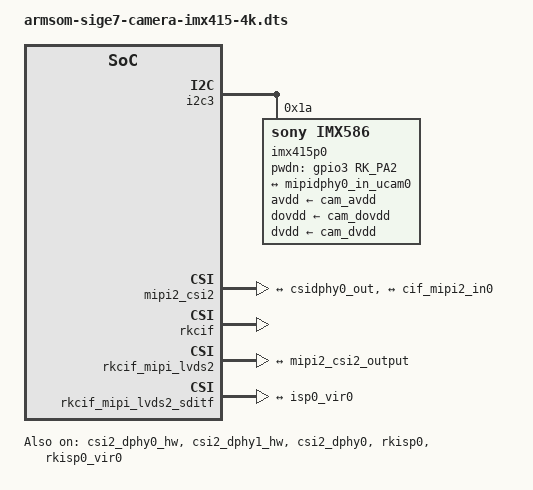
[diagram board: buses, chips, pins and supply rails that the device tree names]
/dts-v1/;
/plugin/;

#include <dt-bindings/clock/rk3588-cru.h>
#include <dt-bindings/power/rk3588-power.h>
#include <dt-bindings/gpio/gpio.h>
#include <dt-bindings/pinctrl/rockchip.h>

/ {
	fragment@0 {
		target = <&i2c3>;

		__overlay__ {
			status = "okay";
			#address-cells = <1>;
			#size-cells = <0>;
			pinctrl-names = "default";
			pinctrl-0 = <&i2c3m0_xfer>;
			
			
	/*dw9800w: dw9800w@c {
		compatible = "dongwoon,dw9800w";
		status = "okay";
		reg = <0x0c>;
		rockchip,vcm-max-current = <100>;
		rockchip,vcm-start-current = <20>;
		rockchip,vcm-rated-current = <80>;
		rockchip,vcm-step-mode = <1>;
		rockchip,vcm-t-src = <0x25>;
		rockchip,vcm-t-div = <1>;
		rockchip,camera-module-index = <0>;
		rockchip,camera-module-facing = "back";
	};*/
	
			imx415p0: imx415p0@1a {
				status = "okay";
				compatible = "sony,imx586";
				reg = <0x1a>;
				clocks = <&ext_cam_24m_clk>;
				clock-names = "xvclk";
				avdd-supply = <&cam_avdd>;
		                dovdd-supply = <&cam_dovdd>;
		                dvdd-supply = <&cam_dvdd>;
				pinctrl-names = "default";
				pinctrl-0 = <&mipim0_camera3_clk>;
				power-domains = <&power RK3588_PD_VI>;
				pwdn-gpios = <&gpio3 RK_PA2 GPIO_ACTIVE_HIGH>;
			//	reset-gpios = <&gpio4 RK_PA0 GPIO_ACTIVE_LOW>;
				rockchip,camera-module-index = <0>;
				rockchip,camera-module-facing = "back";
				rockchip,camera-module-name = "CMK-OT1607-FV1";
				rockchip,camera-module-lens-name = "M12-40IRC-4MP-F16";
				port {
					imx415_out0: endpoint {
						remote-endpoint = <&mipidphy0_in_ucam0>;
						data-lanes = <1 2>;
					};
				};
			};
			/*otp_eeprom: otp_eeprom@50 {
		          compatible = "rk,otp_eeprom";
		          status = "disabled";
		          reg = <0x50>;
	                 };*/
		};
	};

	/*fragment@1 {
		target = <&i2c4>;

		__overlay__ {
			status = "okay";
			#address-cells = <1>;
			#size-cells = <0>;
			pinctrl-names = "default";
			pinctrl-0 = <&i2c4m1_xfer>;
			
			imx415p1: imx415p1@1a {
				status = "okay";
				compatible = "sony,imx415";
				reg = <0x1a>;
				clocks = <&cru CLK_MIPI_CAMARAOUT_M2>;
				clock-names = "xvclk";
				pinctrl-names = "default";
				pinctrl-0 = <&mipim0_camera2_clk>;
				power-domains = <&power RK3588_PD_VI>;
				pwdn-gpios = <&gpio3 RK_PA2 GPIO_ACTIVE_HIGH>;
				reset-gpios = <&gpio3 RK_PA0 GPIO_ACTIVE_LOW>;
				rockchip,camera-module-index = <1>;
				rockchip,camera-module-facing = "back";
				rockchip,camera-module-name = "CMK-OT2022-PX1";
				rockchip,camera-module-lens-name = "IR0147-50IRC-8M-F20";
				port {
					imx415_out3: endpoint {
						remote-endpoint = <&mipidphy3_in_ucam3>;
						data-lanes = <1 2 3 4>;
					};
				};
			};
		};
	};*/

	fragment@1 {
		target = <&csi2_dphy0_hw>;

		__overlay__ {
			status = "okay";
		};
	};

	fragment@2 {
		target = <&csi2_dphy1_hw>;

		__overlay__ {
			status = "okay";
		};
	};


	fragment@3 {
		target = <&csi2_dphy0>;

		__overlay__ {
			status = "okay";

			ports {
				#address-cells = <1>;
				#size-cells = <0>;

				port@0 {
					reg = <0>;
					#address-cells = <1>;
					#size-cells = <0>;

					mipidphy0_in_ucam0: endpoint@1 {
						reg = <1>;
						remote-endpoint = <&imx415_out0>;
						data-lanes = <1 2>;
					};
				};

				port@1 {
					reg = <1>;
					#address-cells = <1>;
					#size-cells = <0>;

					csidphy0_out: endpoint@0 {
						reg = <0>;
						remote-endpoint = <&mipi2_csi2_input>;
					};
				};
			};
		};
	};

	/*fragment@4 {
		target = <&csi2_dphy3>;

		__overlay__ {
			status = "okay";

			ports {
				#address-cells = <1>;
				#size-cells = <0>;

				port@0 {
					reg = <0>;
					#address-cells = <1>;
					#size-cells = <0>;

					mipidphy3_in_ucam3: endpoint@1 {
						reg = <1>;
						remote-endpoint = <&imx415_out3>;
						data-lanes = <1 2 3 4>;
					};

				};

				port@1 {
					reg = <1>;
					#address-cells = <1>;
					#size-cells = <0>;

					csidphy3_out: endpoint@0 {
						reg = <0>;
						remote-endpoint = <&mipi4_csi2_input>;
					};
				};
			};
		};
	};
*/
	fragment@4 {
		target = <&mipi2_csi2>;

		__overlay__ {
			status = "okay";

			ports {
				#address-cells = <1>;
				#size-cells = <0>;

				port@0 {
					reg = <0>;
					#address-cells = <1>;
					#size-cells = <0>;

					mipi2_csi2_input: endpoint@1 {
						reg = <1>;
						remote-endpoint = <&csidphy0_out>;
					};
				};

				port@1 {
					reg = <1>;
					#address-cells = <1>;
					#size-cells = <0>;

					mipi2_csi2_output: endpoint@0 {
						reg = <0>;
						remote-endpoint = <&cif_mipi2_in0>;
					};
				};
			};
		};
	};

	/*fragment@6 {
		target = <&mipi4_csi2>;

		__overlay__ {
			status = "okay";

			ports {
				#address-cells = <1>;
				#size-cells = <0>;

				port@0 {
					reg = <0>;
					#address-cells = <1>;
					#size-cells = <0>;

					mipi4_csi2_input: endpoint@1 {
						reg = <1>;
						remote-endpoint = <&csidphy3_out>;
					};
				};

				port@1 {
					reg = <1>;
					#address-cells = <1>;
					#size-cells = <0>;

					mipi4_csi2_output: endpoint@0 {
						reg = <0>;
						remote-endpoint = <&cif_mipi_in4>;
					};
				};
			};
	    };
	};*/

	fragment@5 {
		target = <&rkcif>;

		__overlay__ {
			status = "okay";
		};
	};

	fragment@6 {
		target = <&rkcif_mipi_lvds2>;

		__overlay__ {
			status = "okay";

			port {
				cif_mipi2_in0: endpoint {
					remote-endpoint = <&mipi2_csi2_output>;
				};
			};
		};
	};

	fragment@7 {
		target = <&rkcif_mipi_lvds2_sditf>;

		__overlay__ {
			status = "okay";

			port {
				mipi_lvds2_sditf: endpoint {
					remote-endpoint = <&isp0_vir0>;
				};
			};
		};
	};

	/*fragment@10 {
		target = <&rkcif_mipi_lvds4>;

		__overlay__ {
			status = "okay";

			port {
				cif_mipi_in4: endpoint {
					remote-endpoint = <&mipi4_csi2_output>;
				};
			};
		};
	};

	fragment@11 {
		target = <&rkcif_mipi_lvds4_sditf>;

		__overlay__ {
			status = "okay";

			port {
				mipi4_lvds_sditf: endpoint {
					remote-endpoint = <&isp1_vir1>;
				};
			};

		};
	};
*/
	fragment@8 {
		target = <&rkcif_mmu>;

		__overlay__ {
			status = "okay";
		};
	};

	fragment@9 {
		target = <&isp0_mmu>;

		__overlay__ {
			status = "okay";
		};
	};

	fragment@10 {
		target = <&rkisp0>;

		__overlay__ {
			status = "okay";
		};
	};

	fragment@11 {
		target = <&rkisp0_vir0>;

		__overlay__ {
			status = "okay";

			port {
				#address-cells = <1>;
				#size-cells = <0>;

				isp0_vir0: endpoint@0 {
					reg = <0>;
					remote-endpoint = <&mipi_lvds2_sditf>;
				};
			};
		};
	};

	/*fragment@16 {
		target = <&rkisp1>;

		__overlay__ {
			status = "okay";
		};
	};

	fragment@17 {
		target = <&isp1_mmu>;

		__overlay__ {
			status = "okay";
		};
	};

	fragment@18 {
		target = <&rkisp1_vir1>;

		__overlay__ {
			status = "okay";

			port {
				#address-cells = <1>;
				#size-cells = <0>;

				isp1_vir1: endpoint@0 {
					reg = <0>;
					remote-endpoint = <&mipi4_lvds_sditf>;
				};
			};
		};
	};*/
	
};
